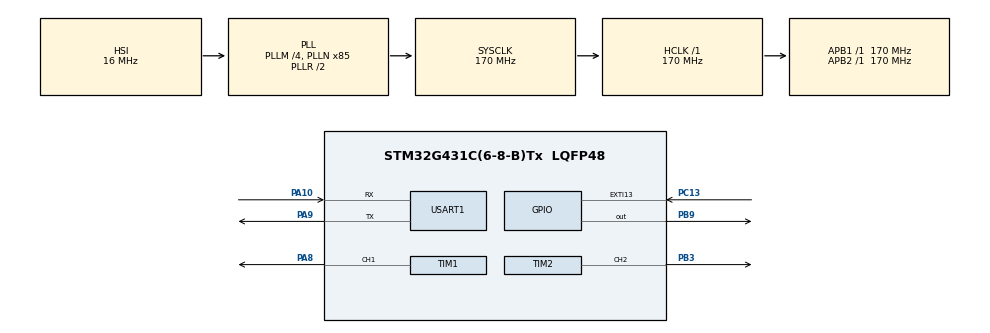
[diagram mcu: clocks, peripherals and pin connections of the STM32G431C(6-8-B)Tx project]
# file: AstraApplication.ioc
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Mcu.Family=STM32G4
Mcu.Name=STM32G431C(6-8-B)Tx
Mcu.Package=LQFP48
NVIC.EXTI15_10_IRQn=true\:0\:0\:false\:false\:true\:true\:true\:true
NVIC.PriorityGroup=NVIC_PRIORITYGROUP_4
PA10.Mode=Asynchronous
PA10.Signal=USART1_RX
PA8.Signal=S_TIM1_CH1
PA9.Mode=Asynchronous
PA9.Signal=USART1_TX
PB3.Signal=S_TIM2_CH2
PB9.Signal=GPIO_Output
PC13.GPIO_ModeDefaultEXTI=GPIO_MODE_IT_RISING
PC13.GPIO_PuPd=GPIO_PULLDOWN
PC13.Signal=GPXTI13
PC14-OSC32_IN.Mode=LSE-External-Oscillator
PC14-OSC32_IN.Signal=RCC_OSC32_IN
PC15-OSC32_OUT.Mode=LSE-External-Oscillator
PC15-OSC32_OUT.Signal=RCC_OSC32_OUT
PF0-OSC_IN.Mode=HSE-External-Oscillator
PF0-OSC_IN.Signal=RCC_OSC_IN
PF1-OSC_OUT.Mode=HSE-External-Oscillator
PF1-OSC_OUT.Signal=RCC_OSC_OUT
ProjectManager.HeapSize=0x200
ProjectManager.StackSize=0x400
ProjectManager.TargetToolchain=CMake
RCC.ADC12Freq_Value=170000000
RCC.AHBFreq_Value=170000000
RCC.APB1Freq_Value=170000000
RCC.APB1TimFreq_Value=170000000
RCC.APB2Freq_Value=170000000
RCC.APB2TimFreq_Value=170000000
RCC.CortexFreq_Value=170000000
RCC.EXTERNAL_CLOCK_VALUE=12288000
RCC.HCLKFreq_Value=170000000
RCC.HSE_VALUE=8000000
RCC.HSI48_VALUE=48000000
RCC.HSI_VALUE=16000000
RCC.PLLM=RCC_PLLM_DIV4
RCC.PLLN=85
RCC.SYSCLKFreq_VALUE=170000000
RCC.SYSCLKSource=RCC_SYSCLKSOURCE_PLLCLK
RCC.USBFreq_Value=170000000
RCC.VCOOutputFreq_Value=340000000
SH.S_TIM1_CH1.0=TIM1_CH1,PWM Generation1 CH1
SH.S_TIM2_CH2.0=TIM2_CH2,PWM Generation2 CH2
TIM1.Channel-PWM\ Generation1\ CH1=TIM_CHANNEL_1
TIM1.PeriodNoDither=8499
TIM2.Channel-PWM\ Generation2\ CH2=TIM_CHANNEL_2
USART1.VirtualMode-Asynchronous=VM_ASYNC
VP_SYS_VS_DBSignals.Mode=DisableDeadBatterySignals
VP_TIM1_VS_ClockSourceINT.Mode=Internal
VP_TIM2_VS_ClockSourceINT.Mode=Internal
board=custom

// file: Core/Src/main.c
/* USER CODE BEGIN Header */
/**
  ******************************************************************************
  * @file           : main.c
  * @brief          : Main program body
  ******************************************************************************
  * @attention
  *
  * Copyright (c) 2026 STMicroelectronics.
  * All rights reserved.
  *
  * This software is licensed under terms that can be found in the LICENSE file
  * in the root directory of this software component.
  * If no LICENSE file comes with this software, it is provided AS-IS.
  *
  ******************************************************************************
  */
/* USER CODE END Header */
#include "main.h"

/* USER CODE BEGIN Includes */
#include <stdbool.h>

#include "FlashLayout.h"
#include "AppHeader.h"
#include "AstraFlash.h"
/* USER CODE END Includes */

/* USER CODE BEGIN PM */

uint32_t flash_buffer[PAGE_SIZE_WORDS];

/* USER CODE END PM */

TIM_HandleTypeDef htim1;
TIM_HandleTypeDef htim2;

UART_HandleTypeDef huart1;

void SystemClock_Config(void);
static void MX_GPIO_Init(void);
static void MX_TIM1_Init(void);
static void MX_TIM2_Init(void);
static void MX_USART1_UART_Init(void);

/* USER CODE BEGIN 0 */
static volatile bool s_otaRequested = false;

void EnableOtaRequest(void)
{
    HAL_FLASH_Unlock();

    FlashReadPage(APP_HEADER_ADDR, flash_buffer);

    ((AppHeader_t *)flash_buffer)->otaRequest = OTA_REQUESTED;

    FlashErasePage(APP_HEADER_ADDR);

    FlashWritePage(APP_HEADER_ADDR, flash_buffer);

    HAL_FLASH_Lock();

    NVIC_SystemReset();
}
/* USER CODE END 0 */

int main(void)
{

  /* USER CODE BEGIN 1 */
  (void)GetAppHeader();
  /* USER CODE END 1 */

  /* MCU Configuration--------------------------------------------------------*/

  /* Reset of all peripherals, Initializes the Flash interface and the Systick. */
  HAL_Init();

  /* USER CODE BEGIN Init */
  SCB->VTOR = APP_START_ADDR;
	__enable_irq();
  /* USER CODE END Init */

  /* Configure the system clock */
  SystemClock_Config();

  /* Initialize all configured peripherals */
  MX_GPIO_Init();
  MX_TIM1_Init();
  MX_TIM2_Init();
  MX_USART1_UART_Init();
  /* USER CODE BEGIN 2 */
  for (uint32_t blink = 0U; blink <= 3u; blink++)
  {
      HAL_GPIO_TogglePin(GPIOB, GPIO_PIN_9);
      HAL_Delay(500);
  }
  /* USER CODE END 2 */

  /* Infinite loop */
  /* USER CODE BEGIN WHILE */
  HAL_TIM_PWM_Start(&htim1, TIM_CHANNEL_1);
  HAL_TIM_PWM_Start(&htim2, TIM_CHANNEL_2);

  __HAL_TIM_SET_COMPARE(&htim1, TIM_CHANNEL_1, 8500);
  __HAL_TIM_SET_COMPARE(&htim2, TIM_CHANNEL_2, 0);

  while (1)
  {
    /* USER CODE END WHILE */

    /* USER CODE BEGIN 3 */
    if (s_otaRequested)
    {
        s_otaRequested = false;
        EnableOtaRequest();
    }
  }
  /* USER CODE END 3 */
}

void SystemClock_Config(void)
{
  RCC_OscInitTypeDef RCC_OscInitStruct = {0};
  RCC_ClkInitTypeDef RCC_ClkInitStruct = {0};

  /** Configure the main internal regulator output voltage
  */
  HAL_PWREx_ControlVoltageScaling(PWR_REGULATOR_VOLTAGE_SCALE1_BOOST);

  /** Initializes the RCC Oscillators according to the specified parameters
  * in the RCC_OscInitTypeDef structure.
  */
  RCC_OscInitStruct.OscillatorType = RCC_OSCILLATORTYPE_HSI;
  RCC_OscInitStruct.HSIState = RCC_HSI_ON;
  RCC_OscInitStruct.HSICalibrationValue = RCC_HSICALIBRATION_DEFAULT;
  RCC_OscInitStruct.PLL.PLLState = RCC_PLL_ON;
  RCC_OscInitStruct.PLL.PLLSource = RCC_PLLSOURCE_HSI;
  RCC_OscInitStruct.PLL.PLLM = RCC_PLLM_DIV4;
  RCC_OscInitStruct.PLL.PLLN = 85;
  RCC_OscInitStruct.PLL.PLLP = RCC_PLLP_DIV2;
  RCC_OscInitStruct.PLL.PLLQ = RCC_PLLQ_DIV2;
  RCC_OscInitStruct.PLL.PLLR = RCC_PLLR_DIV2;
  if (HAL_RCC_OscConfig(&RCC_OscInitStruct) != HAL_OK)
  {
    Error_Handler();
  }

  /** Initializes the CPU, AHB and APB buses clocks
  */
  RCC_ClkInitStruct.ClockType = RCC_CLOCKTYPE_HCLK|RCC_CLOCKTYPE_SYSCLK
                              |RCC_CLOCKTYPE_PCLK1|RCC_CLOCKTYPE_PCLK2;
  RCC_ClkInitStruct.SYSCLKSource = RCC_SYSCLKSOURCE_PLLCLK;
  RCC_ClkInitStruct.AHBCLKDivider = RCC_SYSCLK_DIV1;
  RCC_ClkInitStruct.APB1CLKDivider = RCC_HCLK_DIV1;
  RCC_ClkInitStruct.APB2CLKDivider = RCC_HCLK_DIV1;

  if (HAL_RCC_ClockConfig(&RCC_ClkInitStruct, FLASH_LATENCY_4) != HAL_OK)
  {
    Error_Handler();
  }
}

static void MX_TIM1_Init(void)
{

  TIM_ClockConfigTypeDef sClockSourceConfig = {0};
  TIM_MasterConfigTypeDef sMasterConfig = {0};
  TIM_OC_InitTypeDef sConfigOC = {0};
  TIM_BreakDeadTimeConfigTypeDef sBreakDeadTimeConfig = {0};

  htim1.Instance = TIM1;
  htim1.Init.Prescaler = 0;
  htim1.Init.CounterMode = TIM_COUNTERMODE_UP;
  htim1.Init.Period = 8499;
  htim1.Init.ClockDivision = TIM_CLOCKDIVISION_DIV1;
  htim1.Init.RepetitionCounter = 0;
  htim1.Init.AutoReloadPreload = TIM_AUTORELOAD_PRELOAD_DISABLE;
  if (HAL_TIM_Base_Init(&htim1) != HAL_OK)
  {
    Error_Handler();
  }
  sClockSourceConfig.ClockSource = TIM_CLOCKSOURCE_INTERNAL;
  if (HAL_TIM_ConfigClockSource(&htim1, &sClockSourceConfig) != HAL_OK)
  {
    Error_Handler();
  }
  if (HAL_TIM_PWM_Init(&htim1) != HAL_OK)
  {
    Error_Handler();
  }
  sMasterConfig.MasterOutputTrigger = TIM_TRGO_RESET;
  sMasterConfig.MasterOutputTrigger2 = TIM_TRGO2_RESET;
  sMasterConfig.MasterSlaveMode = TIM_MASTERSLAVEMODE_DISABLE;
  if (HAL_TIMEx_MasterConfigSynchronization(&htim1, &sMasterConfig) != HAL_OK)
  {
    Error_Handler();
  }
  sConfigOC.OCMode = TIM_OCMODE_PWM1;
  sConfigOC.Pulse = 0;
  sConfigOC.OCPolarity = TIM_OCPOLARITY_HIGH;
  sConfigOC.OCNPolarity = TIM_OCNPOLARITY_HIGH;
  sConfigOC.OCFastMode = TIM_OCFAST_DISABLE;
  sConfigOC.OCIdleState = TIM_OCIDLESTATE_RESET;
  sConfigOC.OCNIdleState = TIM_OCNIDLESTATE_RESET;
  if (HAL_TIM_PWM_ConfigChannel(&htim1, &sConfigOC, TIM_CHANNEL_1) != HAL_OK)
  {
    Error_Handler();
  }
  sBreakDeadTimeConfig.OffStateRunMode = TIM_OSSR_DISABLE;
  sBreakDeadTimeConfig.OffStateIDLEMode = TIM_OSSI_DISABLE;
  sBreakDeadTimeConfig.LockLevel = TIM_LOCKLEVEL_OFF;
  sBreakDeadTimeConfig.DeadTime = 0;
  sBreakDeadTimeConfig.BreakState = TIM_BREAK_DISABLE;
  sBreakDeadTimeConfig.BreakPolarity = TIM_BREAKPOLARITY_HIGH;
  sBreakDeadTimeConfig.BreakFilter = 0;
  sBreakDeadTimeConfig.BreakAFMode = TIM_BREAK_AFMODE_INPUT;
  sBreakDeadTimeConfig.Break2State = TIM_BREAK2_DISABLE;
  sBreakDeadTimeConfig.Break2Polarity = TIM_BREAK2POLARITY_HIGH;
  sBreakDeadTimeConfig.Break2Filter = 0;
  sBreakDeadTimeConfig.Break2AFMode = TIM_BREAK_AFMODE_INPUT;
  sBreakDeadTimeConfig.AutomaticOutput = TIM_AUTOMATICOUTPUT_DISABLE;
  if (HAL_TIMEx_ConfigBreakDeadTime(&htim1, &sBreakDeadTimeConfig) != HAL_OK)
  {
    Error_Handler();
  }
  HAL_TIM_MspPostInit(&htim1);

}

static void MX_TIM2_Init(void)
{

  TIM_ClockConfigTypeDef sClockSourceConfig = {0};
  TIM_MasterConfigTypeDef sMasterConfig = {0};
  TIM_OC_InitTypeDef sConfigOC = {0};

  htim2.Instance = TIM2;
  htim2.Init.Prescaler = 0;
  htim2.Init.CounterMode = TIM_COUNTERMODE_UP;
  htim2.Init.Period = 8499;
  htim2.Init.ClockDivision = TIM_CLOCKDIVISION_DIV1;
  htim2.Init.AutoReloadPreload = TIM_AUTORELOAD_PRELOAD_DISABLE;
  if (HAL_TIM_Base_Init(&htim2) != HAL_OK)
  {
    Error_Handler();
  }
  sClockSourceConfig.ClockSource = TIM_CLOCKSOURCE_INTERNAL;
  if (HAL_TIM_ConfigClockSource(&htim2, &sClockSourceConfig) != HAL_OK)
  {
    Error_Handler();
  }
  if (HAL_TIM_PWM_Init(&htim2) != HAL_OK)
  {
    Error_Handler();
  }
  sMasterConfig.MasterOutputTrigger = TIM_TRGO_RESET;
  sMasterConfig.MasterSlaveMode = TIM_MASTERSLAVEMODE_DISABLE;
  if (HAL_TIMEx_MasterConfigSynchronization(&htim2, &sMasterConfig) != HAL_OK)
  {
    Error_Handler();
  }
  sConfigOC.OCMode = TIM_OCMODE_PWM1;
  sConfigOC.Pulse = 0;
  sConfigOC.OCPolarity = TIM_OCPOLARITY_HIGH;
  sConfigOC.OCFastMode = TIM_OCFAST_DISABLE;
  if (HAL_TIM_PWM_ConfigChannel(&htim2, &sConfigOC, TIM_CHANNEL_2) != HAL_OK)
  {
    Error_Handler();
  }
  HAL_TIM_MspPostInit(&htim2);

}

static void MX_USART1_UART_Init(void)
{

  huart1.Instance = USART1;
  huart1.Init.BaudRate = 115200;
  huart1.Init.WordLength = UART_WORDLENGTH_8B;
  huart1.Init.StopBits = UART_STOPBITS_1;
  huart1.Init.Parity = UART_PARITY_NONE;
  huart1.Init.Mode = UART_MODE_TX_RX;
  huart1.Init.HwFlowCtl = UART_HWCONTROL_NONE;
  huart1.Init.OverSampling = UART_OVERSAMPLING_16;
  huart1.Init.OneBitSampling = UART_ONE_BIT_SAMPLE_DISABLE;
  huart1.Init.ClockPrescaler = UART_PRESCALER_DIV1;
  huart1.AdvancedInit.AdvFeatureInit = UART_ADVFEATURE_NO_INIT;
  if (HAL_UART_Init(&huart1) != HAL_OK)
  {
    Error_Handler();
  }
  if (HAL_UARTEx_SetTxFifoThreshold(&huart1, UART_TXFIFO_THRESHOLD_1_8) != HAL_OK)
  {
    Error_Handler();
  }
  if (HAL_UARTEx_SetRxFifoThreshold(&huart1, UART_RXFIFO_THRESHOLD_1_8) != HAL_OK)
  {
    Error_Handler();
  }
  if (HAL_UARTEx_DisableFifoMode(&huart1) != HAL_OK)
  {
    Error_Handler();
  }

}

static void MX_GPIO_Init(void)
{
  GPIO_InitTypeDef GPIO_InitStruct = {0};

  /* GPIO Ports Clock Enable */
  __HAL_RCC_GPIOC_CLK_ENABLE();
  __HAL_RCC_GPIOF_CLK_ENABLE();
  __HAL_RCC_GPIOA_CLK_ENABLE();
  __HAL_RCC_GPIOB_CLK_ENABLE();

  /*Configure GPIO pin Output Level */
  HAL_GPIO_WritePin(GPIOB, GPIO_PIN_9, GPIO_PIN_RESET);

  /*Configure GPIO pin : PC13 */
  GPIO_InitStruct.Pin = GPIO_PIN_13;
  GPIO_InitStruct.Mode = GPIO_MODE_IT_RISING;
  GPIO_InitStruct.Pull = GPIO_PULLDOWN;
  HAL_GPIO_Init(GPIOC, &GPIO_InitStruct);

  /*Configure GPIO pin : PB9 */
  GPIO_InitStruct.Pin = GPIO_PIN_9;
  GPIO_InitStruct.Mode = GPIO_MODE_OUTPUT_PP;
  GPIO_InitStruct.Pull = GPIO_NOPULL;
  GPIO_InitStruct.Speed = GPIO_SPEED_FREQ_LOW;
  HAL_GPIO_Init(GPIOB, &GPIO_InitStruct);

  /* EXTI interrupt init*/
  HAL_NVIC_SetPriority(EXTI15_10_IRQn, 0, 0);
  HAL_NVIC_EnableIRQ(EXTI15_10_IRQn);

  /* USER CODE BEGIN MX_GPIO_Init_2 */
  __HAL_GPIO_EXTI_CLEAR_IT(GPIO_PIN_13);
  /* USER CODE END MX_GPIO_Init_2 */
}

/* USER CODE BEGIN 4 */
void HAL_GPIO_EXTI_Callback(uint16_t GPIO_Pin)
{
    if (GPIO_Pin == GPIO_PIN_13)
    {
        /* Flash operations are too slow for an interrupt context. */
        s_otaRequested = true;
    }
}
/* USER CODE END 4 */

void Error_Handler(void)
{
  __disable_irq();
  while (1)
  {
  }
}
